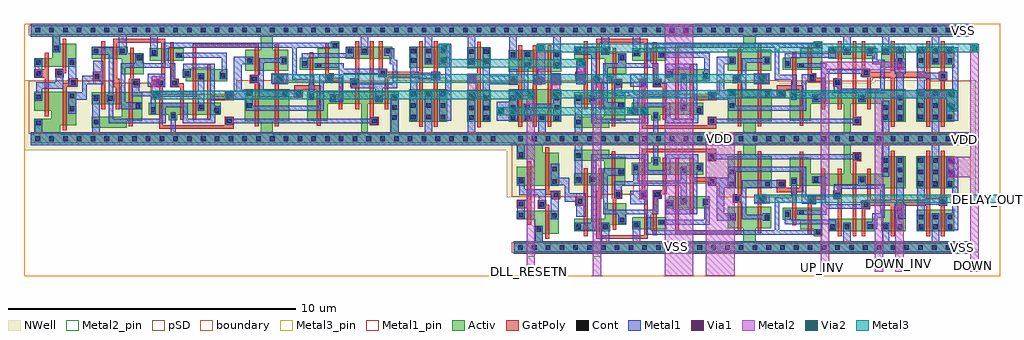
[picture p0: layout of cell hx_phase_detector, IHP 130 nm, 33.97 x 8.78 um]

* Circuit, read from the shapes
.subckt hx_phase_detector DELAY_IN DELAY_OUT DLL_RESETN DOWN DOWN_INV UP UP_INV VDD VSS
XM1 VSS n1 n1 VSS sg13_lv_nmos w=0.3u l=0.13u
XM2 n2 n3 VSS VSS sg13_lv_nmos w=0.795u l=0.13u
XM3 n4 n5 n6 VSS sg13_lv_nmos w=0.42u l=0.13u
XM4 VSS DLL_RESETN n4 VSS sg13_lv_nmos w=0.42u l=0.13u
XM5 n7 n8 VSS VSS sg13_lv_nmos w=0.74u l=0.13u
XM6 n9 DLL_RESETN VSS VSS sg13_lv_nmos w=0.42u l=0.13u
XM7 n10 n7 n9 VSS sg13_lv_nmos w=0.42u l=0.13u
XM8 n8 n11 n6 VSS sg13_lv_nmos w=0.42u l=0.13u
XM9 n10 n12 n8 VSS sg13_lv_nmos w=0.42u l=0.13u
XM10 VSS n11 n12 VSS sg13_lv_nmos w=0.74u l=0.13u
XM11 n11 DELAY_IN VSS VSS sg13_lv_nmos w=0.74u l=0.13u
XM12 n13 n11 n14 VSS sg13_lv_nmos w=0.42u l=0.13u
XM13 n7 n12 n13 VSS sg13_lv_nmos w=0.74u l=0.13u
XM14 VSS n15 n14 VSS sg13_lv_nmos w=0.42u l=0.13u
XM15 n16 DLL_RESETN VSS VSS sg13_lv_nmos w=0.42u l=0.13u
XM16 n15 n13 n16 VSS sg13_lv_nmos w=0.42u l=0.13u
XM17 VSS n13 n17 VSS sg13_lv_nmos w=0.74u l=0.13u
XM18 n18 n17 VSS VSS sg13_lv_nmos w=0.74u l=0.13u
XM19 n19 DLL_RESETN VSS VSS sg13_lv_nmos w=0.74u l=0.13u
XM20 n20 n19 VSS VSS sg13_lv_nmos w=0.74u l=0.13u
XM21 VSS n21 n21 VSS sg13_lv_nmos w=0.3u l=0.13u
XM22 n22 DOWN n20 VSS sg13_lv_nmos w=0.74u l=0.13u
XM23 n23 n24 VSS VSS sg13_lv_nmos w=0.795u l=0.13u
XM24 VSS UP n22 VSS sg13_lv_nmos w=0.74u l=0.13u
XM25 n25 n26 n27 VSS sg13_lv_nmos w=0.42u l=0.13u
XM26 n28 n18 n29 VSS sg13_lv_nmos w=0.42u l=0.13u
XM27 VSS n20 n25 VSS sg13_lv_nmos w=0.42u l=0.13u
XM28 VSS n20 n28 VSS sg13_lv_nmos w=0.42u l=0.13u
XM29 n30 n31 VSS VSS sg13_lv_nmos w=0.74u l=0.13u
XM30 n32 n33 VSS VSS sg13_lv_nmos w=0.74u l=0.13u
XM31 n34 n20 VSS VSS sg13_lv_nmos w=0.42u l=0.13u
XM32 n35 n20 VSS VSS sg13_lv_nmos w=0.42u l=0.13u
XM33 n36 n30 n34 VSS sg13_lv_nmos w=0.42u l=0.13u
XM34 n37 n32 n35 VSS sg13_lv_nmos w=0.42u l=0.13u
XM35 n31 n38 n27 VSS sg13_lv_nmos w=0.42u l=0.13u
XM36 n33 n39 n29 VSS sg13_lv_nmos w=0.42u l=0.13u
XM37 n36 n40 n31 VSS sg13_lv_nmos w=0.42u l=0.13u
XM38 n37 n41 n33 VSS sg13_lv_nmos w=0.42u l=0.13u
XM39 VSS n38 n40 VSS sg13_lv_nmos w=0.74u l=0.13u
XM40 VSS n39 n41 VSS sg13_lv_nmos w=0.74u l=0.13u
XM41 n38 DELAY_OUT VSS VSS sg13_lv_nmos w=0.74u l=0.13u
XM42 n39 DELAY_IN VSS VSS sg13_lv_nmos w=0.74u l=0.13u
XM43 n42 n38 n43 VSS sg13_lv_nmos w=0.42u l=0.13u
XM44 n44 n39 n45 VSS sg13_lv_nmos w=0.42u l=0.13u
XM45 n30 n40 n42 VSS sg13_lv_nmos w=0.74u l=0.13u
XM46 n32 n41 n44 VSS sg13_lv_nmos w=0.74u l=0.13u
XM47 VSS n46 n43 VSS sg13_lv_nmos w=0.42u l=0.13u
XM48 VSS n47 n45 VSS sg13_lv_nmos w=0.42u l=0.13u
XM49 n48 n20 VSS VSS sg13_lv_nmos w=0.42u l=0.13u
XM50 n49 n20 VSS VSS sg13_lv_nmos w=0.42u l=0.13u
XM51 n46 n42 n48 VSS sg13_lv_nmos w=0.42u l=0.13u
XM52 n47 n44 n49 VSS sg13_lv_nmos w=0.42u l=0.13u
XM53 DOWN_INV n42 VSS VSS sg13_lv_nmos w=0.74u l=0.13u
XM54 UP_INV n44 VSS VSS sg13_lv_nmos w=0.74u l=0.13u
XM55 VSS n42 n50 VSS sg13_lv_nmos w=0.74u l=0.13u
XM56 VSS n44 n51 VSS sg13_lv_nmos w=0.74u l=0.13u
XM57 DOWN n50 VSS VSS sg13_lv_nmos w=0.74u l=0.13u
XM58 UP n51 VSS VSS sg13_lv_nmos w=0.74u l=0.13u
XM59 VDD n1 n3 VDD sg13_lv_pmos w=0.66u l=0.13u
XM60 n5 n2 VDD VDD sg13_lv_pmos w=1.155u l=0.13u
XM61 n6 n5 VDD VDD sg13_lv_pmos w=0.42u l=0.13u
XM62 VDD DLL_RESETN n6 VDD sg13_lv_pmos w=0.42u l=0.13u
XM63 n7 n8 VDD VDD sg13_lv_pmos w=1u l=0.13u
XM64 VDD DLL_RESETN n8 VDD sg13_lv_pmos w=0.42u l=0.13u
XM65 n52 n7 VDD VDD sg13_lv_pmos w=0.42u l=0.13u
XM66 n8 n11 n52 VDD sg13_lv_pmos w=0.42u l=0.13u
XM67 n6 n12 n8 VDD sg13_lv_pmos w=0.42u l=0.13u
XM68 VDD n11 n12 VDD sg13_lv_pmos w=1.12u l=0.13u
XM69 n11 DELAY_IN VDD VDD sg13_lv_pmos w=1.12u l=0.13u
XM70 n13 n11 n7 VDD sg13_lv_pmos w=1u l=0.13u
XM71 n53 n12 n13 VDD sg13_lv_pmos w=0.42u l=0.13u
XM72 VDD n15 n53 VDD sg13_lv_pmos w=0.42u l=0.13u
XM73 n15 DLL_RESETN VDD VDD sg13_lv_pmos w=0.42u l=0.13u
XM74 VDD n13 n15 VDD sg13_lv_pmos w=0.42u l=0.13u
XM75 VDD n13 n17 VDD sg13_lv_pmos w=1.12u l=0.13u
XM76 n18 n17 VDD VDD sg13_lv_pmos w=1.12u l=0.13u
XM77 n19 DLL_RESETN VDD VDD sg13_lv_pmos w=1.12u l=0.13u
XM78 n54 n19 n20 VDD sg13_lv_pmos w=1.12u l=0.13u
XM79 VDD n21 n24 VDD sg13_lv_pmos w=0.66u l=0.13u
XM80 VDD DOWN n54 VDD sg13_lv_pmos w=1.12u l=0.13u
XM81 n26 n23 VDD VDD sg13_lv_pmos w=1.155u l=0.13u
XM82 n54 UP VDD VDD sg13_lv_pmos w=1.12u l=0.13u
XM83 n27 n26 VDD VDD sg13_lv_pmos w=0.42u l=0.13u
XM84 n29 n18 VDD VDD sg13_lv_pmos w=0.42u l=0.13u
XM85 VDD n20 n27 VDD sg13_lv_pmos w=0.42u l=0.13u
XM86 VDD n20 n29 VDD sg13_lv_pmos w=0.42u l=0.13u
XM87 n30 n31 VDD VDD sg13_lv_pmos w=1u l=0.13u
XM88 n32 n33 VDD VDD sg13_lv_pmos w=1u l=0.13u
XM89 VDD n20 n31 VDD sg13_lv_pmos w=0.42u l=0.13u
XM90 VDD n20 n33 VDD sg13_lv_pmos w=0.42u l=0.13u
XM91 n55 n30 VDD VDD sg13_lv_pmos w=0.42u l=0.13u
XM92 n56 n32 VDD VDD sg13_lv_pmos w=0.42u l=0.13u
XM93 n31 n38 n55 VDD sg13_lv_pmos w=0.42u l=0.13u
XM94 n33 n39 n56 VDD sg13_lv_pmos w=0.42u l=0.13u
XM95 n27 n40 n31 VDD sg13_lv_pmos w=0.42u l=0.13u
XM96 n29 n41 n33 VDD sg13_lv_pmos w=0.42u l=0.13u
XM97 VDD n38 n40 VDD sg13_lv_pmos w=1.12u l=0.13u
XM98 VDD n39 n41 VDD sg13_lv_pmos w=1.12u l=0.13u
XM99 n38 DELAY_OUT VDD VDD sg13_lv_pmos w=1.12u l=0.13u
XM100 n39 DELAY_IN VDD VDD sg13_lv_pmos w=1.12u l=0.13u
XM101 n42 n38 n30 VDD sg13_lv_pmos w=1u l=0.13u
XM102 n44 n39 n32 VDD sg13_lv_pmos w=1u l=0.13u
XM103 n57 n40 n42 VDD sg13_lv_pmos w=0.42u l=0.13u
XM104 n58 n41 n44 VDD sg13_lv_pmos w=0.42u l=0.13u
XM105 VDD n46 n57 VDD sg13_lv_pmos w=0.42u l=0.13u
XM106 VDD n47 n58 VDD sg13_lv_pmos w=0.42u l=0.13u
XM107 n46 n20 VDD VDD sg13_lv_pmos w=0.42u l=0.13u
XM108 n47 n20 VDD VDD sg13_lv_pmos w=0.42u l=0.13u
XM109 VDD n42 n46 VDD sg13_lv_pmos w=0.42u l=0.13u
XM110 VDD n44 n47 VDD sg13_lv_pmos w=0.42u l=0.13u
XM111 DOWN_INV n42 VDD VDD sg13_lv_pmos w=1.12u l=0.13u
XM112 UP_INV n44 VDD VDD sg13_lv_pmos w=1.12u l=0.13u
XM113 VDD n42 n50 VDD sg13_lv_pmos w=1.12u l=0.13u
XM114 VDD n44 n51 VDD sg13_lv_pmos w=1.12u l=0.13u
XM115 DOWN n50 VDD VDD sg13_lv_pmos w=1.12u l=0.13u
XM116 UP n51 VDD VDD sg13_lv_pmos w=1.12u l=0.13u
.ends

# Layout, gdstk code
import gdstk
lib = gdstk.Library(unit=1e-6, precision=1e-09)
def R(c, l, rs):  # rectangles x0, y0, x1, y1
    for r in rs: c.add(gdstk.rectangle(r[:2], r[2:], *l))
def A(c, l, x, y, w, h, nx, ny, dx, dy):  # array of equal rectangles
    R(c, l, [(x+i*dx, y+j*dy, x+i*dx+w, y+j*dy+h) for i in range(nx) for j in range(ny)])
def P(c, l, *ps):  # polygons
    for p in ps: c.add(gdstk.Polygon(p, *l))
Activ = (1, 0)
GatPoly = (5, 0)
Cont = (6, 0)
Metal1 = (8, 0)
Metal1_pin = (8, 2)
Metal2 = (10, 0)
Metal2_pin = (10, 2)
pSD = (14, 0)
Via1 = (19, 0)
Via2 = (29, 0)
Metal3 = (30, 0)
Metal3_pin = (30, 2)
NWell = (31, 0)
boundary = (189, 4)

hx_phase_detector = lib.new_cell('hx_phase_detector')
R(hx_phase_detector, Activ, [(27.99,1.57,29.62,1.99), (29.83,1.57,30.685,2.31), (31.065,1.57,32.385,2.31), (21.175,1.635,22.36,2.055), (31.06,3.06,32.385,4.18), (2.16,4.63,15.12,4.93), (15.12,4.63,16.56,4.93), (16.56,4.63,18.96,4.93), (18.96,4.63,32.88,4.93), (18.96,4.63,32.88,4.93), (15.43,5.365,16.24,6.485), (13.41,5.38,14.735,6.5), (16.865,5.38,18.695,6.5), (31.06,5.38,32.385,6.5), (16.865,7.12,18.695,7.86), (15.43,7.23,16.24,7.97), (13.415,7.25,14.735,7.99), (29.83,7.25,30.685,7.99), (31.065,7.25,32.385,7.99), (4.375,7.505,5.56,7.925), (21.175,7.505,22.36,7.925), (11.19,7.57,12.82,7.99), (27.99,7.57,29.62,7.99), (15.12,8.41,16.56,8.71), (16.56,8.41,18.96,8.71)])
P(hx_phase_detector, Activ, [(7.695,7.145),(7.695,7.885),(8.235,7.885),(8.235,8.41),(2.16,8.41),(2.16,8.71),(15.12,8.71),(15.12,8.41),(8.665,8.41),(8.665,7.885),(9.205,7.885),(9.205,7.145)],
  [(11.73,4.93),(11.73,5.995),(10.575,5.995),(10.575,5.415),(9.855,5.415),(9.855,6.415),(13.05,6.415),(13.05,4.93),(12.75,4.93),(12.75,5.995),(11.97,5.995),(11.97,4.93)],
  [(9.605,7.185),(9.605,7.605),(10.22,7.605),(10.22,7.925),(10.68,7.925),(10.68,8.17),(10.98,8.17),(10.98,7.185)],
  [(8.235,4.93),(8.235,5.39),(7.69,5.39),(7.69,6.51),(9.23,6.51),(9.23,5.39),(8.665,5.39),(8.665,4.93)],
  [(5.635,6.78),(5.635,6.9),(5.525,6.9),(5.525,7.2),(7.07,7.2),(7.07,6.78)],
  [(5.04,5.42),(5.04,5.615),(4.35,5.615),(4.35,6.035),(6.845,6.035),(6.845,5.615),(5.34,5.615),(5.34,5.42)],
  [(3.405,7.025),(3.405,7.57),(2.35,7.57),(2.35,7.99),(3.605,7.99),(3.605,7.765),(4.16,7.765),(4.16,7.025)],
  [(2.35,5.165),(2.35,5.55),(3.4,5.55),(3.4,5.98),(2.35,5.98),(2.35,6.4),(4.12,6.4),(4.12,5.4),(3.575,5.4),(3.575,5.165)],
  [(18.96,0.85),(18.96,1.15),(25.035,1.15),(25.035,1.675),(24.495,1.675),(24.495,2.415),(26.005,2.415),(26.005,1.675),(25.465,1.675),(25.465,1.15),(32.88,1.15),(32.88,0.85)],
  [(29.83,3.06),(29.83,3.145),(26.655,3.145),(26.655,4.145),(27.375,4.145),(27.375,3.565),(28.53,3.565),(28.53,4.63),(28.77,4.63),(28.77,3.565),(29.83,3.565),(29.83,4.18),(30.685,4.18),(30.685,3.06)],
  [(27.48,1.39),(27.48,1.635),(27.02,1.635),(27.02,1.955),(26.405,1.955),(26.405,2.375),(27.78,2.375),(27.78,1.39)],
  [(24.49,3.05),(24.49,4.17),(25.035,4.17),(25.035,4.63),(25.465,4.63),(25.465,4.17),(26.03,4.17),(26.03,3.05)],
  [(22.325,2.36),(22.325,2.66),(22.435,2.66),(22.435,2.78),(23.87,2.78),(23.87,2.36)],
  [(21.15,3.525),(21.15,3.945),(21.84,3.945),(21.84,4.14),(22.14,4.14),(22.14,3.945),(23.645,3.945),(23.645,3.525)],
  [(19.15,1.57),(19.15,1.99),(20.205,1.99),(20.205,2.535),(20.96,2.535),(20.96,1.795),(20.405,1.795),(20.405,1.57)],
  [(19.15,3.16),(19.15,3.58),(20.2,3.58),(20.2,4.01),(19.15,4.01),(19.15,4.395),(20.375,4.395),(20.375,4.16),(20.92,4.16),(20.92,3.16)],
  [(24.495,7.145),(24.495,7.885),(25.035,7.885),(25.035,8.41),(18.96,8.41),(18.96,8.71),(32.88,8.71),(32.88,8.41),(25.465,8.41),(25.465,7.885),(26.005,7.885),(26.005,7.145)],
  [(28.53,4.93),(28.53,5.995),(27.375,5.995),(27.375,5.415),(26.655,5.415),(26.655,6.415),(29.83,6.415),(29.83,6.5),(30.685,6.5),(30.685,5.38),(29.83,5.38),(29.83,5.995),(28.77,5.995),(28.77,4.93)],
  [(26.405,7.185),(26.405,7.605),(27.02,7.605),(27.02,7.925),(27.48,7.925),(27.48,8.17),(27.78,8.17),(27.78,7.185)],
  [(25.035,4.93),(25.035,5.39),(24.49,5.39),(24.49,6.51),(26.03,6.51),(26.03,5.39),(25.465,5.39),(25.465,4.93)],
  [(22.435,6.78),(22.435,6.9),(22.325,6.9),(22.325,7.2),(23.87,7.2),(23.87,6.78)],
  [(21.84,5.42),(21.84,5.615),(21.15,5.615),(21.15,6.035),(23.645,6.035),(23.645,5.615),(22.14,5.615),(22.14,5.42)],
  [(20.205,7.025),(20.205,7.57),(19.15,7.57),(19.15,7.99),(20.405,7.99),(20.405,7.765),(20.96,7.765),(20.96,7.025)],
  [(19.15,5.165),(19.15,5.55),(20.2,5.55),(20.2,5.98),(19.15,5.98),(19.15,6.4),(20.92,6.4),(20.92,5.4),(20.375,5.4),(20.375,5.165)],
  [(17.155,3.145),(17.155,3.805),(17.745,3.805),(17.745,4.075),(17.155,4.075),(17.155,4.63),(17.04,4.63),(17.04,4.93),(18.96,4.93),(18.96,4.63),(18.06,4.63),(18.06,4.3),(18.62,4.3),(18.62,3.145)],
  [(17.04,0.85),(17.04,1.15),(17.78,1.15),(17.78,1.975),(17.155,1.975),(17.155,2.275),(18.62,2.275),(18.62,1.48),(18.05,1.48),(18.05,1.15),(18.96,1.15),(18.96,0.85)],
  [(0.24,4.63),(0.24,4.93),(0.355,4.93),(0.355,5.485),(0.945,5.485),(0.945,5.755),(0.355,5.755),(0.355,6.415),(1.82,6.415),(1.82,5.26),(1.26,5.26),(1.26,4.93),(2.16,4.93),(2.16,4.63)],
  [(0.355,7.285),(0.355,7.585),(0.98,7.585),(0.98,8.41),(0.24,8.41),(0.24,8.71),(2.16,8.71),(2.16,8.41),(1.25,8.41),(1.25,8.08),(1.82,8.08),(1.82,7.285)])
R(hx_phase_detector, GatPoly, [(31.915,1.39,32.045,4.36), (31.83,2.445,32.13,2.745), (14.265,5.2,14.395,8.17), (31.915,5.2,32.045,8.17), (14.18,6.815,14.48,7.115), (31.83,6.815,32.13,7.115)])
P(hx_phase_detector, GatPoly, [(18.225,5.2),(18.225,8.04),(18.355,8.04),(18.355,6.96),(18.695,6.96),(18.695,6.66),(18.355,6.66),(18.355,5.2)],
  [(17.715,5.2),(17.715,8.04),(17.845,8.04),(17.845,6.96),(18.015,6.96),(18.015,6.66),(17.845,6.66),(17.845,5.2)],
  [(17.205,5.2),(17.205,6.66),(16.865,6.66),(16.865,6.96),(17.205,6.96),(17.205,8.04),(17.335,8.04),(17.335,5.2)],
  [(12.04,5.255),(12.04,8.17),(12.17,8.17),(12.17,5.555),(12.34,5.555),(12.34,5.255)],
  [(13.755,5.2),(13.755,6.925),(12.68,6.925),(12.68,5.815),(12.55,5.815),(12.55,6.925),(12.35,6.925),(12.35,8.17),(12.48,8.17),(12.48,7.225),(12.65,7.225),(12.65,7.11),(13.755,7.11),(13.755,8.17),(13.885,8.17),(13.885,5.2)],
  [(8.035,5.21),(8.035,6.705),(7.865,6.705),(7.865,7.005),(8.035,7.005),(8.035,7.955),(5.995,7.955),(5.995,5.435),(5.865,5.435),(5.865,8.095),(8.165,8.095),(8.165,5.21)],
  [(2.69,5.8),(2.69,6.805),(2.395,6.805),(2.395,7.105),(2.69,7.105),(2.69,8.17),(2.82,8.17),(2.82,5.8)],
  [(11.53,5.815),(11.53,6.59),(11.36,6.59),(11.36,6.89),(11.53,6.89),(11.53,8.17),(11.66,8.17),(11.66,5.815)],
  [(10.195,5.235),(10.195,6.49),(9.705,6.49),(9.705,6.21),(9.405,6.21),(9.405,6.64),(9.945,6.64),(9.945,7.795),(10.075,7.795),(10.075,6.64),(10.325,6.64),(10.325,5.235)],
  [(8.735,5.21),(8.735,8.065),(8.865,8.065),(8.865,7.005),(9.035,7.005),(9.035,6.705),(8.865,6.705),(8.865,5.21)],
  [(6.375,5.435),(6.375,7.38),(6.505,7.38),(6.505,6.27),(6.995,6.27),(6.995,6.42),(7.295,6.42),(7.295,6.12),(6.505,6.12),(6.505,5.435)],
  [(5.435,5.435),(5.435,6.575),(5.09,6.575),(5.09,8.135),(5.22,8.135),(5.22,6.875),(5.39,6.875),(5.39,6.705),(5.565,6.705),(5.565,5.435)],
  [(4.7,5.125),(4.7,6.575),(4.61,6.575),(4.61,6.875),(4.78,6.875),(4.78,8.13),(3.24,8.13),(3.24,6.875),(3.33,6.875),(3.33,5.8),(3.2,5.8),(3.2,6.58),(3.11,6.58),(3.11,8.265),(4.91,8.265),(4.91,6.575),(4.83,6.575),(4.83,5.255),(6.995,5.255),(6.995,5.555),(7.295,5.555),(7.295,5.125)],
  [(3.65,5.22),(3.65,6.875),(3.69,6.875),(3.69,7.945),(3.82,7.945),(3.82,6.875),(4.025,6.875),(4.025,6.575),(3.78,6.575),(3.78,5.22)],
  [(10.955,5.815),(10.955,6.755),(10.48,6.755),(10.48,8.115),(10.61,8.115),(10.61,7.055),(10.78,7.055),(10.78,6.9),(11.085,6.9),(11.085,5.815)],
  [(28.84,1.39),(28.84,4.305),(29.14,4.305),(29.14,4.005),(28.97,4.005),(28.97,1.39)],
  [(22.665,1.465),(22.665,4.125),(22.795,4.125),(22.795,1.605),(24.835,1.605),(24.835,2.555),(24.665,2.555),(24.665,2.855),(24.835,2.855),(24.835,4.35),(24.965,4.35),(24.965,1.465)],
  [(19.49,1.39),(19.49,2.455),(19.195,2.455),(19.195,2.755),(19.49,2.755),(19.49,3.76),(19.62,3.76),(19.62,1.39)],
  [(29.15,1.39),(29.15,2.635),(29.35,2.635),(29.35,3.745),(29.48,3.745),(29.48,2.635),(30.17,2.635),(30.17,4.36),(30.3,4.36),(30.3,2.635),(31.405,2.635),(31.405,4.36),(31.535,4.36),(31.535,1.39),(31.405,1.39),(31.405,2.45),(30.3,2.45),(30.3,1.39),(30.17,1.39),(30.17,2.45),(29.45,2.45),(29.45,2.335),(29.28,2.335),(29.28,1.39)],
  [(28.33,1.39),(28.33,2.67),(28.16,2.67),(28.16,2.97),(28.33,2.97),(28.33,3.745),(28.46,3.745),(28.46,1.39)],
  [(26.745,1.765),(26.745,2.92),(26.205,2.92),(26.205,3.35),(26.505,3.35),(26.505,3.07),(26.995,3.07),(26.995,4.325),(27.125,4.325),(27.125,2.92),(26.875,2.92),(26.875,1.765)],
  [(25.535,1.495),(25.535,4.35),(25.665,4.35),(25.665,2.855),(25.835,2.855),(25.835,2.555),(25.665,2.555),(25.665,1.495)],
  [(23.175,2.18),(23.175,4.125),(23.305,4.125),(23.305,3.44),(24.095,3.44),(24.095,3.14),(23.795,3.14),(23.795,3.29),(23.305,3.29),(23.305,2.18)],
  [(21.89,1.425),(21.89,2.985),(22.235,2.985),(22.235,4.125),(22.365,4.125),(22.365,2.855),(22.19,2.855),(22.19,2.685),(22.02,2.685),(22.02,1.425)],
  [(19.91,1.295),(19.91,2.98),(20,2.98),(20,3.76),(20.13,3.76),(20.13,2.685),(20.04,2.685),(20.04,1.43),(21.58,1.43),(21.58,2.685),(21.41,2.685),(21.41,2.985),(21.5,2.985),(21.5,4.435),(24.095,4.435),(24.095,4.005),(23.795,4.005),(23.795,4.305),(21.63,4.305),(21.63,2.985),(21.71,2.985),(21.71,1.295)],
  [(20.49,1.615),(20.49,2.685),(20.45,2.685),(20.45,4.34),(20.58,4.34),(20.58,2.985),(20.825,2.985),(20.825,2.685),(20.62,2.685),(20.62,1.615)],
  [(27.28,1.445),(27.28,2.805),(27.755,2.805),(27.755,3.745),(27.885,3.745),(27.885,2.66),(27.58,2.66),(27.58,2.505),(27.41,2.505),(27.41,1.445)],
  [(28.84,5.255),(28.84,8.17),(28.97,8.17),(28.97,5.555),(29.14,5.555),(29.14,5.255)],
  [(24.835,5.21),(24.835,6.705),(24.665,6.705),(24.665,7.005),(24.835,7.005),(24.835,7.955),(22.795,7.955),(22.795,5.435),(22.665,5.435),(22.665,8.095),(24.965,8.095),(24.965,5.21)],
  [(19.49,5.8),(19.49,6.805),(19.195,6.805),(19.195,7.105),(19.49,7.105),(19.49,8.17),(19.62,8.17),(19.62,5.8)],
  [(30.17,5.2),(30.17,6.925),(29.48,6.925),(29.48,5.815),(29.35,5.815),(29.35,6.925),(29.15,6.925),(29.15,8.17),(29.28,8.17),(29.28,7.225),(29.45,7.225),(29.45,7.11),(30.17,7.11),(30.17,8.17),(30.3,8.17),(30.3,7.11),(31.405,7.11),(31.405,8.17),(31.535,8.17),(31.535,5.2),(31.405,5.2),(31.405,6.925),(30.3,6.925),(30.3,5.2)],
  [(28.33,5.815),(28.33,6.59),(28.16,6.59),(28.16,6.89),(28.33,6.89),(28.33,8.17),(28.46,8.17),(28.46,5.815)],
  [(26.995,5.235),(26.995,6.49),(26.505,6.49),(26.505,6.21),(26.205,6.21),(26.205,6.64),(26.745,6.64),(26.745,7.795),(26.875,7.795),(26.875,6.64),(27.125,6.64),(27.125,5.235)],
  [(25.535,5.21),(25.535,8.065),(25.665,8.065),(25.665,7.005),(25.835,7.005),(25.835,6.705),(25.665,6.705),(25.665,5.21)],
  [(23.175,5.435),(23.175,7.38),(23.305,7.38),(23.305,6.27),(23.795,6.27),(23.795,6.42),(24.095,6.42),(24.095,6.12),(23.305,6.12),(23.305,5.435)],
  [(22.235,5.435),(22.235,6.575),(21.89,6.575),(21.89,8.135),(22.02,8.135),(22.02,6.875),(22.19,6.875),(22.19,6.705),(22.365,6.705),(22.365,5.435)],
  [(21.5,5.125),(21.5,6.575),(21.41,6.575),(21.41,6.875),(21.58,6.875),(21.58,8.13),(20.04,8.13),(20.04,6.875),(20.13,6.875),(20.13,5.8),(20,5.8),(20,6.58),(19.91,6.58),(19.91,8.265),(21.71,8.265),(21.71,6.575),(21.63,6.575),(21.63,5.255),(23.795,5.255),(23.795,5.555),(24.095,5.555),(24.095,5.125)],
  [(20.45,5.22),(20.45,6.875),(20.49,6.875),(20.49,7.945),(20.62,7.945),(20.62,6.875),(20.825,6.875),(20.825,6.575),(20.58,6.575),(20.58,5.22)],
  [(27.755,5.815),(27.755,6.755),(27.28,6.755),(27.28,8.115),(27.41,8.115),(27.41,7.055),(27.58,7.055),(27.58,6.9),(27.885,6.9),(27.885,5.815)],
  [(18.37,2.675),(18.37,2.83),(18.15,2.83),(18.15,4.49),(18.28,4.49),(18.28,2.975),(18.67,2.975),(18.67,2.675)],
  [(17.525,1.785),(17.525,2.355),(17.155,2.355),(17.155,2.655),(17.525,2.655),(17.525,3.995),(17.655,3.995),(17.655,1.785)],
  [(18.145,1.3),(18.145,2.345),(17.885,2.345),(17.885,2.645),(18.185,2.645),(18.185,2.49),(18.275,2.49),(18.275,1.3)],
  [(1.35,5.07),(1.35,6.73),(1.57,6.73),(1.57,6.885),(1.87,6.885),(1.87,6.585),(1.48,6.585),(1.48,5.07)],
  [(0.725,5.565),(0.725,6.905),(0.355,6.905),(0.355,7.205),(0.725,7.205),(0.725,7.775),(0.855,7.775),(0.855,5.565)],
  [(1.085,6.915),(1.085,7.215),(1.345,7.215),(1.345,8.26),(1.475,8.26),(1.475,7.07),(1.385,7.07),(1.385,6.915)],
  [(15.77,5.185),(15.77,6.71),(15.43,6.71),(15.43,7.04),(15.77,7.04),(15.77,8.15),(15.9,8.15),(15.9,5.185)])
A(hx_phase_detector, Cont, 18.64, 0.92, 0.16, 0.16, 30, 1, 0.48, 0)
A(hx_phase_detector, Cont, 29.39, 1.64, 0.16, 0.16, 3, 2, 0.51, 6.12)
A(hx_phase_detector, Cont, 31.135, 1.64, 0.16, 0.16, 3, 2, 0.51, 0.34)
A(hx_phase_detector, Cont, 31.13, 3.135, 0.16, 0.16, 1, 3, 0, 0.405)
A(hx_phase_detector, Cont, 31.645, 3.135, 0.16, 0.16, 1, 3, 0, 0.405)
A(hx_phase_detector, Cont, 32.155, 3.135, 0.16, 0.16, 1, 3, 0, 0.405)
A(hx_phase_detector, Cont, 30.41, 3.27, 0.16, 0.16, 1, 3, 0, 0.34)
A(hx_phase_detector, Cont, 1.84, 4.7, 0.16, 0.16, 29, 2, 0.48, 3.78)
A(hx_phase_detector, Cont, 15.5, 5.435, 0.16, 0.16, 1, 3, 0, 0.34)
A(hx_phase_detector, Cont, 16.01, 5.435, 0.16, 0.16, 1, 3, 0, 0.34)
A(hx_phase_detector, Cont, 12.82, 5.445, 0.16, 0.16, 1, 3, 0, 0.34)
A(hx_phase_detector, Cont, 16.935, 5.45, 0.16, 0.16, 4, 1, 0.51, 0)
A(hx_phase_detector, Cont, 30.41, 5.45, 0.16, 0.16, 1, 3, 0, 0.34)
A(hx_phase_detector, Cont, 13.48, 5.455, 0.16, 0.16, 1, 3, 0, 0.405)
A(hx_phase_detector, Cont, 13.995, 5.455, 0.16, 0.16, 1, 3, 0, 0.405)
A(hx_phase_detector, Cont, 14.505, 5.455, 0.16, 0.16, 1, 3, 0, 0.405)
A(hx_phase_detector, Cont, 31.13, 5.455, 0.16, 0.16, 1, 3, 0, 0.405)
A(hx_phase_detector, Cont, 31.645, 5.455, 0.16, 0.16, 1, 3, 0, 0.405)
A(hx_phase_detector, Cont, 32.155, 5.455, 0.16, 0.16, 1, 3, 0, 0.405)
A(hx_phase_detector, Cont, 13.485, 7.42, 0.16, 0.16, 3, 2, 0.51, 0.34)
A(hx_phase_detector, Cont, 31.135, 7.42, 0.16, 0.16, 3, 2, 0.51, 0.34)
A(hx_phase_detector, Cont, 16.24, 8.48, 0.16, 0.16, 35, 1, 0.48, 0)
R(hx_phase_detector, Cont, [(17.2,0.92,17.36,1.08), (17.2,0.92,17.36,1.08), (17.68,0.92,17.84,1.08), (17.68,0.92,17.84,1.08), (18.16,0.92,18.32,1.08), (18.16,0.92,18.32,1.08), (18.64,0.92,18.8,1.08), (27.55,1.465,27.71,1.625), (17.85,1.55,18.01,1.71), (19.22,1.64,19.38,1.8), (20.15,1.64,20.31,1.8), (28.06,1.64,28.22,1.8), (28.57,1.64,28.73,1.8), (21.245,1.705,21.405,1.865), (22.13,1.795,22.29,1.955), (20.73,1.88,20.89,2.04), (24.565,1.97,24.725,2.13), (25.775,1.97,25.935,2.13), (30.41,1.98,30.57,2.14), (18.39,2.035,18.55,2.195), (17.225,2.045,17.385,2.205), (26.475,2.075,26.635,2.235), (26.985,2.145,27.145,2.305), (29.22,2.405,29.38,2.565), (17.955,2.415,18.115,2.575), (17.225,2.425,17.385,2.585), (22.395,2.43,22.555,2.59), (23.64,2.49,23.8,2.65), (31.9,2.515,32.06,2.675), (19.265,2.525,19.425,2.685), (22.905,2.55,23.065,2.71), (27.35,2.575,27.51,2.735), (24.735,2.625,24.895,2.785), (25.605,2.625,25.765,2.785), (28.23,2.74,28.39,2.9), (18.44,2.745,18.6,2.905), (20.595,2.755,20.755,2.915), (21.48,2.755,21.64,2.915), (21.96,2.755,22.12,2.915), (24.56,3.12,24.72,3.28), (25.8,3.12,25.96,3.28), (26.275,3.12,26.435,3.28), (23.865,3.21,24.025,3.37), (18.39,3.215,18.55,3.375), (26.725,3.215,26.885,3.375), (17.225,3.24,17.385,3.4), (27.485,3.275,27.645,3.435), (29.08,3.275,29.24,3.435), (19.22,3.29,19.38,3.45), (19.73,3.29,19.89,3.45), (24.56,3.54,24.72,3.7), (20.69,3.55,20.85,3.71), (22.905,3.595,23.065,3.755), (29.9,3.61,30.06,3.77), (18.39,3.655,18.55,3.815), (21.22,3.69,21.38,3.85), (23.415,3.705,23.575,3.865), (21.91,3.91,22.07,4.07), (29.9,3.95,30.06,4.11), (23.865,4.075,24.025,4.235), (28.91,4.075,29.07,4.235), (19.225,4.12,19.385,4.28), (17.225,4.145,17.385,4.305), (0.4,4.7,0.56,4.86), (0.4,4.7,0.56,4.86), (0.88,4.7,1.04,4.86), (0.88,4.7,1.04,4.86), (1.36,4.7,1.52,4.86), (1.36,4.7,1.52,4.86), (1.84,4.7,2,4.86), (15.28,4.7,15.44,4.86), (15.76,4.7,15.92,4.86), (15.76,4.7,15.92,4.86), (16.24,4.7,16.4,4.86), (16.24,4.7,16.4,4.86), (17.2,4.7,17.36,4.86), (17.2,4.7,17.36,4.86), (17.68,4.7,17.84,4.86), (17.68,4.7,17.84,4.86), (18.16,4.7,18.32,4.86), (18.16,4.7,18.32,4.86), (18.64,4.7,18.8,4.86), (18.64,4.7,18.8,4.86), (18.64,4.7,18.8,4.86), (19.12,4.7,19.28,4.86), (19.12,4.7,19.28,4.86), (19.6,4.7,19.76,4.86), (19.6,4.7,19.76,4.86), (20.08,4.7,20.24,4.86), (20.08,4.7,20.24,4.86), (20.56,4.7,20.72,4.86), (20.56,4.7,20.72,4.86), (21.04,4.7,21.2,4.86), (21.04,4.7,21.2,4.86), (21.52,4.7,21.68,4.86), (21.52,4.7,21.68,4.86), (22,4.7,22.16,4.86), (22,4.7,22.16,4.86), (22.48,4.7,22.64,4.86), (22.48,4.7,22.64,4.86), (22.96,4.7,23.12,4.86), (22.96,4.7,23.12,4.86), (23.44,4.7,23.6,4.86), (23.44,4.7,23.6,4.86), (23.92,4.7,24.08,4.86), (23.92,4.7,24.08,4.86), (24.4,4.7,24.56,4.86), (24.4,4.7,24.56,4.86), (24.88,4.7,25.04,4.86), (24.88,4.7,25.04,4.86), (25.36,4.7,25.52,4.86), (25.36,4.7,25.52,4.86), (25.84,4.7,26,4.86), (25.84,4.7,26,4.86), (26.32,4.7,26.48,4.86), (26.32,4.7,26.48,4.86), (26.8,4.7,26.96,4.86), (26.8,4.7,26.96,4.86), (27.28,4.7,27.44,4.86), (27.28,4.7,27.44,4.86), (27.76,4.7,27.92,4.86), (27.76,4.7,27.92,4.86), (28.24,4.7,28.4,4.86), (28.24,4.7,28.4,4.86), (28.72,4.7,28.88,4.86), (28.72,4.7,28.88,4.86), (29.2,4.7,29.36,4.86), (29.2,4.7,29.36,4.86), (29.68,4.7,29.84,4.86), (29.68,4.7,29.84,4.86), (30.16,4.7,30.32,4.86), (30.16,4.7,30.32,4.86), (30.64,4.7,30.8,4.86), (30.64,4.7,30.8,4.86), (31.12,4.7,31.28,4.86), (31.12,4.7,31.28,4.86), (31.6,4.7,31.76,4.86), (31.6,4.7,31.76,4.86), (32.08,4.7,32.24,4.86), (32.08,4.7,32.24,4.86), (32.56,4.7,32.72,4.86), (32.56,4.7,32.72,4.86), (0.425,5.255,0.585,5.415), (2.425,5.28,2.585,5.44), (19.225,5.28,19.385,5.44), (7.065,5.325,7.225,5.485), (12.11,5.325,12.27,5.485), (23.865,5.325,24.025,5.485), (28.91,5.325,29.07,5.485), (29.9,5.45,30.06,5.61), (5.11,5.49,5.27,5.65), (21.91,5.49,22.07,5.65), (6.615,5.695,6.775,5.855), (23.415,5.695,23.575,5.855), (4.42,5.71,4.58,5.87), (21.22,5.71,21.38,5.87), (1.59,5.745,1.75,5.905), (16.935,5.79,17.095,5.95), (17.445,5.79,17.605,5.95), (18.465,5.79,18.625,5.95), (29.9,5.79,30.06,5.95), (6.105,5.805,6.265,5.965), (22.905,5.805,23.065,5.965), (3.89,5.85,4.05,6.01), (20.69,5.85,20.85,6.01), (7.76,5.86,7.92,6.02), (24.56,5.86,24.72,6.02), (2.42,6.11,2.58,6.27), (2.93,6.11,3.09,6.27), (19.22,6.11,19.38,6.27), (19.73,6.11,19.89,6.27), (10.685,6.125,10.845,6.285), (12.28,6.125,12.44,6.285), (27.485,6.125,27.645,6.285), (29.08,6.125,29.24,6.285), (16.935,6.13,17.095,6.29), (18.465,6.13,18.625,6.29), (0.425,6.16,0.585,6.32), (1.59,6.185,1.75,6.345), (9.925,6.185,10.085,6.345), (26.725,6.185,26.885,6.345), (7.065,6.19,7.225,6.35), (23.865,6.19,24.025,6.35), (7.76,6.28,7.92,6.44), (9,6.28,9.16,6.44), (9.475,6.28,9.635,6.44), (24.56,6.28,24.72,6.44), (25.8,6.28,25.96,6.44), (26.275,6.28,26.435,6.44), (3.795,6.645,3.955,6.805), (4.68,6.645,4.84,6.805), (5.16,6.645,5.32,6.805), (20.595,6.645,20.755,6.805), (21.48,6.645,21.64,6.805), (21.96,6.645,22.12,6.805), (1.64,6.655,1.8,6.815), (11.43,6.66,11.59,6.82), (28.23,6.66,28.39,6.82), (16.935,6.73,17.095,6.89), (17.785,6.73,17.945,6.89), (18.465,6.73,18.625,6.89), (7.935,6.775,8.095,6.935), (8.805,6.775,8.965,6.935), (24.735,6.775,24.895,6.935), (25.605,6.775,25.765,6.935), (15.515,6.795,15.675,6.955), (10.55,6.825,10.71,6.985), (27.35,6.825,27.51,6.985), (6.105,6.85,6.265,7.01), (22.905,6.85,23.065,7.01), (2.465,6.875,2.625,7.035), (19.265,6.875,19.425,7.035), (14.25,6.885,14.41,7.045), (31.9,6.885,32.06,7.045), (6.84,6.91,7,7.07), (23.64,6.91,23.8,7.07), (5.595,6.97,5.755,7.13), (22.395,6.97,22.555,7.13), (0.425,6.975,0.585,7.135), (1.155,6.985,1.315,7.145), (12.42,6.995,12.58,7.155), (29.22,6.995,29.38,7.155), (10.185,7.255,10.345,7.415), (26.985,7.255,27.145,7.415), (17.445,7.29,17.605,7.45), (18.465,7.29,18.625,7.45), (9.675,7.325,9.835,7.485), (26.475,7.325,26.635,7.485), (0.425,7.355,0.585,7.515), (1.59,7.365,1.75,7.525), (15.5,7.4,15.66,7.56), (16.01,7.4,16.17,7.56), (30.41,7.42,30.57,7.58), (7.765,7.43,7.925,7.59), (8.975,7.43,9.135,7.59), (24.565,7.43,24.725,7.59), (25.775,7.43,25.935,7.59), (3.93,7.52,4.09,7.68), (20.73,7.52,20.89,7.68), (5.33,7.605,5.49,7.765), (22.13,7.605,22.29,7.765), (16.935,7.63,17.095,7.79), (17.445,7.63,17.605,7.79), (18.465,7.63,18.625,7.79), (4.445,7.695,4.605,7.855), (21.245,7.695,21.405,7.855), (15.5,7.74,15.66,7.9), (16.01,7.74,16.17,7.9), (2.42,7.76,2.58,7.92), (3.35,7.76,3.51,7.92), (11.26,7.76,11.42,7.92), (11.77,7.76,11.93,7.92), (12.59,7.76,12.75,7.92), (19.22,7.76,19.38,7.92), (20.15,7.76,20.31,7.92), (28.06,7.76,28.22,7.92), (28.57,7.76,28.73,7.92), (1.05,7.85,1.21,8.01), (10.75,7.935,10.91,8.095), (27.55,7.935,27.71,8.095), (0.4,8.48,0.56,8.64), (0.4,8.48,0.56,8.64), (0.88,8.48,1.04,8.64), (0.88,8.48,1.04,8.64), (1.36,8.48,1.52,8.64), (1.36,8.48,1.52,8.64), (1.84,8.48,2,8.64), (15.28,8.48,15.44,8.64), (15.76,8.48,15.92,8.64), (15.76,8.48,15.92,8.64), (16.24,8.48,16.4,8.64)])
R(hx_phase_detector, Metal1, [(18.34,1.985,18.615,2.955), (17.175,1.995,17.435,2.635), (19.215,2.07,19.56,2.89), (21.105,2.51,21.71,2.965), (25.41,2.52,25.95,2.84), (18.34,3.165,18.625,3.91), (15.975,5.385,16.205,7.95), (16.455,5.4,16.885,6.07), (1.54,5.65,1.825,6.395), (4.305,6.595,4.91,7.05), (21.105,6.595,21.71,7.05), (1.54,6.605,1.815,7.575), (2.415,6.67,2.76,7.49), (19.215,6.67,19.56,7.49), (16.205,6.68,16.885,6.97), (16.885,6.68,17.16,7.215), (18.33,6.68,18.675,7.06), (15.43,6.71,15.745,7.04), (8.61,6.72,9.15,7.04), (25.41,6.72,25.95,7.04), (0.375,6.925,0.635,7.565), (17.735,6.94,17.88,7), (14.435,7.97,14.87,8.09)])
P(hx_phase_detector, Metal1, [(17.395,5.4),(17.395,6.005),(18.415,6.005),(18.415,6.48),(18.675,6.48),(18.675,5.4),(18.415,5.4),(18.415,5.845),(17.655,5.845),(17.655,5.4)],
  [(17.735,6.68),(17.735,6.94),(17.88,6.94),(17.88,7.215),(18.14,7.215),(18.14,6.68)],
  [(16.56,4.56),(16.56,5),(17.905,5),(17.905,5.66),(18.165,5.66),(18.165,5),(18.96,5),(18.96,4.56)],
  [(18.415,7.24),(18.415,8.34),(17.145,8.34),(17.145,7.58),(16.885,7.58),(16.885,8.34),(16.56,8.34),(16.56,8.78),(18.96,8.78),(18.96,8.34),(18.675,8.34),(18.675,7.24)],
  [(16.885,5.4),(16.885,6.48),(17.395,6.48),(17.395,7.84),(17.655,7.84),(17.655,7.24),(17.555,7.24),(17.555,6.27),(17.18,6.27),(17.18,5.4)],
  [(12.23,6.065),(12.23,6.54),(11.38,6.54),(11.38,6.87),(11.64,6.87),(11.64,6.7),(12.835,6.7),(12.835,7.37),(12.73,7.37),(12.73,7.675),(12.54,7.675),(12.54,7.935),(12.89,7.935),(12.89,7.53),(12.995,7.53),(12.995,6.54),(12.49,6.54),(12.49,6.065)],
  [(13.435,5.405),(13.435,7.97),(13.695,7.97),(13.695,7.075),(14.18,7.075),(14.18,7.115),(14.48,7.115),(14.48,6.815),(14.18,6.815),(14.18,6.85),(13.695,6.85),(13.695,5.405)],
  [(14.455,5.405),(14.455,6.465),(14.66,6.465),(14.66,7.37),(14.435,7.37),(14.435,7.97),(14.87,7.97),(14.87,5.405)],
  [(7.015,5.275),(7.015,5.535),(7.275,5.535),(7.275,5.485),(12.07,5.485),(12.07,5.535),(12.32,5.535),(12.32,5.275),(12.07,5.275),(12.07,5.325),(7.275,5.325),(7.275,5.275)],
  [(8.18,6.23),(8.18,6.725),(7.885,6.725),(7.885,6.985),(8.18,6.985),(8.18,7.58),(8.915,7.58),(8.915,7.64),(9.15,7.64),(9.15,7.38),(8.915,7.38),(8.915,7.42),(8.34,7.42),(8.34,6.49),(9.685,6.49),(9.685,6.23)],
  [(2.945,5.32),(2.945,6.06),(2.88,6.06),(2.88,6.32),(2.945,6.32),(2.945,7.71),(2.37,7.71),(2.37,7.97),(3.11,7.97),(3.11,6.32),(3.14,6.32),(3.14,6.06),(3.11,6.06),(3.11,5.48),(4.765,5.48),(4.765,6.04),(5.695,6.04),(5.695,5.48),(6.48,5.48),(6.48,7.24),(5.805,7.24),(5.805,6.92),(5.545,6.92),(5.545,7.4),(6.64,7.4),(6.64,5.905),(6.825,5.905),(6.825,5.645),(6.665,5.645),(6.665,5.32),(5.525,5.32),(5.525,5.88),(4.925,5.88),(4.925,5.32)],
  [(13.945,7.37),(13.945,8.34),(11.98,8.34),(11.98,7.71),(11.72,7.71),(11.72,8.34),(4.655,8.34),(4.655,7.645),(4.395,7.645),(4.395,8.34),(3.57,8.34),(3.57,7.71),(3.3,7.71),(3.3,8.34),(2.16,8.34),(2.16,8.78),(15.12,8.78),(15.12,8.34),(14.205,8.34),(14.205,7.37)],
  [(7.71,5.76),(7.71,6.14),(7.015,6.14),(7.015,6.4),(7.305,6.4),(7.305,7.64),(7.975,7.64),(7.975,7.38),(7.58,7.38),(7.58,6.49),(7.97,6.49),(7.97,5.93),(10.275,5.93),(10.275,7.035),(10.76,7.035),(10.76,6.775),(10.435,6.775),(10.435,5.76)],
  [(2.16,4.56),(2.16,5),(2.375,5),(2.375,6.32),(2.635,6.32),(2.635,5),(5.105,5),(5.105,5.7),(5.275,5.7),(5.275,5),(12.77,5),(12.77,6.335),(13.035,6.335),(13.035,5),(13.945,5),(13.945,6.46),(14.205,6.46),(14.205,5),(15.12,5),(15.12,4.56)],
  [(10.635,6.075),(10.635,6.335),(10.95,6.335),(10.95,7.245),(10.12,7.245),(10.12,7.415),(11.13,7.415),(11.13,7.21),(12.63,7.21),(12.63,6.935),(12.325,6.935),(12.325,7.05),(11.11,7.05),(11.11,6.075)],
  [(9.67,7.25),(9.67,7.755),(11.21,7.755),(11.21,7.97),(11.47,7.97),(11.47,7.595),(9.885,7.595),(9.885,7.25)],
  [(6.82,6.86),(6.82,7.12),(6.885,7.12),(6.885,7.6),(5.28,7.6),(5.28,7.775),(7.065,7.775),(7.065,6.86)],
  [(4.405,5.66),(4.405,6.255),(3.745,6.255),(3.745,6.855),(4.005,6.855),(4.005,6.415),(6.055,6.415),(6.055,7.06),(6.275,7.06),(6.275,5.755),(6.055,5.755),(6.055,6.245),(4.585,6.245),(4.585,5.66)],
  [(3.36,5.8),(3.36,7.41),(3.88,7.41),(3.88,7.745),(4.14,7.745),(4.14,7.41),(4.865,7.41),(4.865,8.12),(10.96,8.12),(10.96,7.935),(10.7,7.935),(10.7,7.955),(9.49,7.955),(9.49,7.005),(10.095,7.005),(10.095,6.135),(9.905,6.135),(9.905,6.835),(9.33,6.835),(9.33,7.955),(5.035,7.955),(5.035,7.41),(5.27,7.41),(5.27,6.855),(5.37,6.855),(5.37,6.595),(5.11,6.595),(5.11,7.25),(3.52,7.25),(3.52,6.06),(4.1,6.06),(4.1,5.8)],
  [(29.34,1.625),(29.34,1.885),(29.53,1.885),(29.53,2.19),(29.8,2.19),(29.8,3.035),(28.44,3.035),(28.44,2.69),(28.18,2.69),(28.18,3.195),(29.03,3.195),(29.03,3.495),(29.29,3.495),(29.29,3.195),(29.96,3.195),(29.96,2.03),(29.69,2.03),(29.69,1.625)],
  [(31.085,1.59),(31.085,4.155),(31.345,4.155),(31.345,2.71),(31.83,2.71),(31.83,2.745),(32.13,2.745),(32.13,2.445),(31.83,2.445),(31.83,2.485),(31.345,2.485),(31.345,1.59)],
  [(32.085,1.59),(32.085,2.19),(32.31,2.19),(32.31,3.095),(32.105,3.095),(32.105,4.155),(32.52,4.155),(32.52,1.59)],
  [(23.815,4.025),(23.815,4.285),(24.075,4.285),(24.075,4.235),(28.87,4.235),(28.87,4.285),(29.12,4.285),(29.12,4.025),(28.87,4.025),(28.87,4.075),(24.075,4.075),(24.075,4.025)],
  [(25.715,1.92),(25.715,1.98),(24.98,1.98),(24.98,2.575),(24.685,2.575),(24.685,2.835),(24.98,2.835),(24.98,3.33),(26.485,3.33),(26.485,3.07),(25.14,3.07),(25.14,2.14),(25.715,2.14),(25.715,2.18),(25.95,2.18),(25.95,1.92)],
  [(19.17,1.59),(19.17,1.85),(19.745,1.85),(19.745,3.24),(19.68,3.24),(19.68,3.5),(19.745,3.5),(19.745,4.24),(21.725,4.24),(21.725,3.68),(22.325,3.68),(22.325,4.24),(23.465,4.24),(23.465,3.915),(23.625,3.915),(23.625,3.655),(23.44,3.655),(23.44,2.16),(22.345,2.16),(22.345,2.64),(22.605,2.64),(22.605,2.32),(23.28,2.32),(23.28,4.08),(22.495,4.08),(22.495,3.52),(21.565,3.52),(21.565,4.08),(19.91,4.08),(19.91,3.5),(19.94,3.5),(19.94,3.24),(19.91,3.24),(19.91,1.59)],
  [(18.96,0.78),(18.96,1.22),(20.1,1.22),(20.1,1.85),(20.37,1.85),(20.37,1.22),(21.195,1.22),(21.195,1.915),(21.455,1.915),(21.455,1.22),(28.52,1.22),(28.52,1.85),(28.78,1.85),(28.78,1.22),(29.87,1.22),(29.87,1.85),(30.11,1.85),(30.11,1.22),(31.595,1.22),(31.595,2.19),(31.855,2.19),(31.855,1.22),(32.88,1.22),(32.88,0.78)],
  [(24.105,1.92),(24.105,3.16),(23.815,3.16),(23.815,3.42),(24.51,3.42),(24.51,3.8),(27.235,3.8),(27.235,2.785),(27.56,2.785),(27.56,2.525),(27.075,2.525),(27.075,3.63),(24.77,3.63),(24.77,3.07),(24.38,3.07),(24.38,2.18),(24.775,2.18),(24.775,1.92)],
  [(31.59,3.1),(31.59,4.56),(30.11,4.56),(30.11,3.46),(29.85,3.46),(29.85,4.56),(22.075,4.56),(22.075,3.86),(21.905,3.86),(21.905,4.56),(19.435,4.56),(19.435,3.24),(19.175,3.24),(19.175,4.56),(18.96,4.56),(18.96,5),(32.88,5),(32.88,4.56),(31.86,4.56),(31.86,3.1)],
  [(30.36,1.59),(30.36,1.99),(30.3,1.99),(30.3,2.52),(30.36,2.52),(30.36,4.155),(30.62,4.155),(30.62,2.52),(30.685,2.52),(30.685,1.99),(30.62,1.99),(30.62,1.59)],
  [(26.92,2.145),(26.92,2.315),(27.75,2.315),(27.75,3.225),(27.435,3.225),(27.435,3.485),(27.91,3.485),(27.91,2.51),(29.125,2.51),(29.125,2.625),(29.43,2.625),(29.43,2.35),(27.93,2.35),(27.93,2.145)],
  [(28.01,1.59),(28.01,1.805),(26.47,1.805),(26.47,2.31),(26.685,2.31),(26.685,1.965),(28.27,1.965),(28.27,1.59)],
  [(22.08,1.785),(22.08,1.96),(23.685,1.96),(23.685,2.44),(23.62,2.44),(23.62,2.7),(23.865,2.7),(23.865,1.785)],
  [(22.855,2.5),(22.855,3.145),(20.805,3.145),(20.805,2.705),(20.545,2.705),(20.545,3.305),(21.205,3.305),(21.205,3.9),(21.385,3.9),(21.385,3.315),(22.855,3.315),(22.855,3.805),(23.075,3.805),(23.075,2.5)],
  [(21.665,1.44),(21.665,2.15),(20.94,2.15),(20.94,1.815),(20.68,1.815),(20.68,2.15),(20.16,2.15),(20.16,3.76),(20.9,3.76),(20.9,3.5),(20.32,3.5),(20.32,2.31),(21.91,2.31),(21.91,2.965),(22.17,2.965),(22.17,2.705),(22.07,2.705),(22.07,2.15),(21.835,2.15),(21.835,1.605),(26.13,1.605),(26.13,2.725),(26.705,2.725),(26.705,3.425),(26.895,3.425),(26.895,2.555),(26.29,2.555),(26.29,1.605),(27.5,1.605),(27.5,1.625),(27.76,1.625),(27.76,1.44)],
  [(29.03,6.065),(29.03,6.365),(28.18,6.365),(28.18,6.87),(28.44,6.87),(28.44,6.525),(29.8,6.525),(29.8,7.37),(29.53,7.37),(29.53,7.675),(29.34,7.675),(29.34,7.935),(29.69,7.935),(29.69,7.53),(29.96,7.53),(29.96,6.365),(29.29,6.365),(29.29,6.065)],
  [(31.085,5.405),(31.085,7.97),(31.345,7.97),(31.345,7.075),(31.83,7.075),(31.83,7.115),(32.13,7.115),(32.13,6.815),(31.83,6.815),(31.83,6.85),(31.345,6.85),(31.345,5.405)],
  [(32.105,5.405),(32.105,6.465),(32.31,6.465),(32.31,7.37),(32.085,7.37),(32.085,7.97),(32.52,7.97),(32.52,5.405)],
  [(23.815,5.275),(23.815,5.535),(24.075,5.535),(24.075,5.485),(28.87,5.485),(28.87,5.535),(29.12,5.535),(29.12,5.275),(28.87,5.275),(28.87,5.325),(24.075,5.325),(24.075,5.275)],
  [(24.98,6.23),(24.98,6.725),(24.685,6.725),(24.685,6.985),(24.98,6.985),(24.98,7.58),(25.715,7.58),(25.715,7.64),(25.95,7.64),(25.95,7.38),(25.715,7.38),(25.715,7.42),(25.14,7.42),(25.14,6.49),(26.485,6.49),(26.485,6.23)],
  [(19.745,5.32),(19.745,6.06),(19.68,6.06),(19.68,6.32),(19.745,6.32),(19.745,7.71),(19.17,7.71),(19.17,7.97),(19.91,7.97),(19.91,6.32),(19.94,6.32),(19.94,6.06),(19.91,6.06),(19.91,5.48),(21.565,5.48),(21.565,6.04),(22.495,6.04),(22.495,5.48),(23.28,5.48),(23.28,7.24),(22.605,7.24),(22.605,6.92),(22.345,6.92),(22.345,7.4),(23.44,7.4),(23.44,5.905),(23.625,5.905),(23.625,5.645),(23.465,5.645),(23.465,5.32),(22.325,5.32),(22.325,5.88),(21.725,5.88),(21.725,5.32)],
  [(31.595,7.37),(31.595,8.34),(30.11,8.34),(30.11,7.71),(29.87,7.71),(29.87,8.34),(28.78,8.34),(28.78,7.71),(28.52,7.71),(28.52,8.34),(21.455,8.34),(21.455,7.645),(21.195,7.645),(21.195,8.34),(20.37,8.34),(20.37,7.71),(20.1,7.71),(20.1,8.34),(18.96,8.34),(18.96,8.78),(32.88,8.78),(32.88,8.34),(31.855,8.34),(31.855,7.37)],
  [(24.51,5.76),(24.51,6.14),(23.815,6.14),(23.815,6.4),(24.105,6.4),(24.105,7.64),(24.775,7.64),(24.775,7.38),(24.38,7.38),(24.38,6.49),(24.77,6.49),(24.77,5.93),(27.075,5.93),(27.075,7.035),(27.56,7.035),(27.56,6.775),(27.235,6.775),(27.235,5.76)],
  [(18.96,4.56),(18.96,5),(19.175,5),(19.175,6.32),(19.435,6.32),(19.435,5),(21.905,5),(21.905,5.7),(22.075,5.7),(22.075,5),(29.85,5),(29.85,6.1),(30.11,6.1),(30.11,5),(31.59,5),(31.59,6.46),(31.86,6.46),(31.86,5),(32.88,5),(32.88,4.56)],
  [(30.36,5.405),(30.36,7.04),(30.3,7.04),(30.3,7.57),(30.36,7.57),(30.36,7.97),(30.62,7.97),(30.62,7.57),(30.685,7.57),(30.685,7.04),(30.62,7.04),(30.62,5.405)],
  [(27.435,6.075),(27.435,6.335),(27.75,6.335),(27.75,7.245),(26.92,7.245),(26.92,7.415),(27.93,7.415),(27.93,7.21),(29.43,7.21),(29.43,6.935),(29.125,6.935),(29.125,7.05),(27.91,7.05),(27.91,6.075)],
  [(26.47,7.25),(26.47,7.755),(28.01,7.755),(28.01,7.97),(28.27,7.97),(28.27,7.595),(26.685,7.595),(26.685,7.25)],
  [(23.62,6.86),(23.62,7.12),(23.685,7.12),(23.685,7.6),(22.08,7.6),(22.08,7.775),(23.865,7.775),(23.865,6.86)],
  [(21.205,5.66),(21.205,6.255),(20.545,6.255),(20.545,6.855),(20.805,6.855),(20.805,6.415),(22.855,6.415),(22.855,7.06),(23.075,7.06),(23.075,5.755),(22.855,5.755),(22.855,6.245),(21.385,6.245),(21.385,5.66)],
  [(20.16,5.8),(20.16,7.41),(20.68,7.41),(20.68,7.745),(20.94,7.745),(20.94,7.41),(21.665,7.41),(21.665,8.12),(27.76,8.12),(27.76,7.935),(27.5,7.935),(27.5,7.955),(26.29,7.955),(26.29,7.005),(26.895,7.005),(26.895,6.135),(26.705,6.135),(26.705,6.835),(26.13,6.835),(26.13,7.955),(21.835,7.955),(21.835,7.41),(22.07,7.41),(22.07,6.855),(22.17,6.855),(22.17,6.595),(21.91,6.595),(21.91,7.25),(20.32,7.25),(20.32,6.06),(20.9,6.06),(20.9,5.8)],
  [(17.91,2.355),(17.91,2.815),(17.235,2.815),(17.235,3.19),(17.175,3.19),(17.175,3.45),(17.435,3.45),(17.435,3.03),(18.16,3.03),(18.16,2.355)],
  [(17.04,0.78),(17.04,1.22),(17.8,1.22),(17.8,1.76),(18.06,1.76),(18.06,1.22),(18.96,1.22),(18.96,0.78)],
  [(17.175,4.095),(17.175,4.56),(17.04,4.56),(17.04,5),(18.96,5),(18.96,4.56),(17.435,4.56),(17.435,4.095)],
  [(0.375,6.11),(0.375,6.37),(0.435,6.37),(0.435,6.745),(1.11,6.745),(1.11,7.205),(1.36,7.205),(1.36,6.53),(0.635,6.53),(0.635,6.11)],
  [(1,7.8),(1,8.34),(0.24,8.34),(0.24,8.78),(2.16,8.78),(2.16,8.34),(1.26,8.34),(1.26,7.8)],
  [(0.24,4.56),(0.24,5),(0.375,5),(0.375,5.465),(0.635,5.465),(0.635,5),(2.16,5),(2.16,4.56)],
  [(15.12,4.56),(15.12,5),(15.45,5),(15.45,6.325),(15.71,6.325),(15.71,5),(16.56,5),(16.56,4.56)],
  [(15.45,7.35),(15.45,8.34),(15.12,8.34),(15.12,8.78),(16.56,8.78),(16.56,8.34),(15.71,8.34),(15.71,7.35)],
  [(1.825,6.14),(1.825,6.395),(2.02,6.395),(2.02,6.97),(2.415,6.97),(2.415,6.67),(2.18,6.67),(2.18,6.14)],
  [(18.82,2.59),(18.82,3.165),(18.625,3.165),(18.625,3.42),(18.98,3.42),(18.98,2.89),(19.215,2.89),(19.215,2.59)])
R(hx_phase_detector, Metal1_pin, [(17.04,0.78,18.96,1.22), (18.96,0.78,32.88,1.22), (30.3,1.99,30.685,2.52), (19.215,2.07,19.56,2.89), (21.105,2.51,21.71,2.965), (25.41,2.52,25.95,2.84), (32.105,3.095,32.52,4.155), (18.34,3.165,18.625,3.91), (0.24,4.56,2.16,5), (2.16,4.56,15.12,5), (15.12,4.56,16.56,5), (16.56,4.56,18.96,5), (17.04,4.56,18.96,5), (18.96,4.56,32.88,5), (18.96,4.56,32.88,5), (15.975,5.385,16.205,7.95), (16.885,5.4,17.18,6.48), (14.455,5.405,14.87,6.465), (32.105,5.405,32.52,6.465), (1.54,5.65,1.825,6.395), (4.305,6.595,4.91,7.05), (21.105,6.595,21.71,7.05), (2.415,6.67,2.76,7.49), (19.215,6.67,19.56,7.49), (16.885,6.68,17.16,7.215), (17.88,6.68,18.14,7.215), (18.33,6.68,18.675,7.06), (15.43,6.71,15.745,7.04), (8.61,6.72,9.15,7.04), (25.41,6.72,25.95,7.04), (30.3,7.04,30.685,7.57), (0.24,8.34,2.16,8.78), (2.16,8.34,15.12,8.78), (15.12,8.34,16.56,8.78), (16.56,8.34,18.96,8.78), (18.96,8.34,32.88,8.78)])
R(hx_phase_detector, Metal2, [(22.3,0.005,23.3,8.78), (23.735,0.005,24.735,5), (30.325,0.15,30.615,2.41), (25.41,2.52,25.95,2.84), (16.455,5.595,17.18,5.885), (4.45,6.16,4.74,6.965), (15.445,6.16,15.735,7.035), (18.37,6.185,18.66,6.99), (8.63,6.68,9.195,7.07), (17.85,6.68,18.14,8.09), (25.395,6.68,25.96,7.07), (19.25,6.81,19.54,7.555), (14.435,7.265,14.825,8.09)])
P(hx_phase_detector, Metal2, [(17.49,0),(17.49,6.16),(17.08,6.16),(17.08,6.45),(17.78,6.45),(17.78,0)],
  [(19.795,0),(19.795,7.02),(20.515,7.02),(20.515,6.73),(20.085,6.73),(20.085,0)],
  [(21.42,2.68),(21.42,5.595),(20.99,5.595),(20.99,5.885),(21.42,5.885),(21.42,6.865),(21.71,6.865),(21.71,2.68)],
  [(29.615,0.15),(29.615,6.475),(32.475,6.475),(32.475,5.745),(32.125,5.745),(32.125,6.185),(29.905,6.185),(29.905,0.15)],
  [(32.935,0.15),(32.935,3.435),(32.16,3.435),(32.16,4.155),(32.935,4.155),(32.935,8.09),(33.225,8.09),(33.225,0.15)],
  [(27.735,0.15),(27.735,7.46),(30.62,7.46),(30.62,7.17),(28.025,7.17),(28.025,0.15)])
R(hx_phase_detector, Metal2_pin, [(17.49,0,17.78,0.69), (19.795,0,20.085,0.695), (27.735,0.15,28.025,0.845), (29.615,0.15,29.905,0.845), (30.325,0.15,30.615,0.845), (32.935,0.15,33.225,0.845), (22.3,0.78,23.3,1.22), (23.735,4.56,24.735,5)])
R(hx_phase_detector, pSD, [(16.97,0.82,19.03,1.18), (18.89,0.82,32.96,1.18), (16.97,2.76,19.03,4.6), (0.17,4.96,2.23,6.8), (15.05,4.96,16.63,6.8), (16.49,4.96,19.03,6.8), (0.17,8.38,2.23,8.74), (2.09,8.38,15.19,8.74), (15.05,8.38,16.63,8.74), (16.49,8.38,19.03,8.74), (18.89,8.38,32.96,8.74)])
P(hx_phase_detector, pSD, [(2.09,4.96),(2.09,6.8),(3.105,6.8),(3.105,6.725),(4.415,6.725),(4.415,6.335),(7.39,6.335),(7.39,6.81),(9.405,6.81),(9.405,6.8),(12.715,6.8),(12.715,6.9),(14.72,6.9),(14.72,6.8),(15.19,6.8),(15.19,4.96)],
  [(29.515,2.66),(29.515,2.76),(26.205,2.76),(26.205,2.75),(24.19,2.75),(24.19,3.225),(21.215,3.225),(21.215,2.835),(19.905,2.835),(19.905,2.76),(18.89,2.76),(18.89,4.6),(32.96,4.6),(32.96,2.76),(31.52,2.76),(31.52,2.66)],
  [(18.89,4.96),(18.89,6.8),(19.905,6.8),(19.905,6.725),(21.215,6.725),(21.215,6.335),(24.19,6.335),(24.19,6.81),(26.205,6.81),(26.205,6.8),(29.515,6.8),(29.515,6.9),(31.52,6.9),(31.52,6.8),(32.96,6.8),(32.96,4.96)])
R(hx_phase_detector, Via1, [(22.465,0.9,22.655,1.09), (22.945,0.9,23.135,1.09), (30.375,2.17,30.565,2.36), (25.585,2.6,25.775,2.79), (21.465,2.73,21.655,2.92), (32.21,3.485,32.4,3.675), (32.21,3.915,32.4,4.105), (23.905,4.68,24.095,4.87), (24.385,4.68,24.575,4.87), (16.505,5.645,16.695,5.835), (16.935,5.645,17.125,5.835), (32.21,5.795,32.4,5.985), (32.21,6.225,32.4,6.415), (21.465,6.625,21.655,6.815), (4.5,6.65,4.69,6.84), (17.9,6.73,18.09,6.92), (18.42,6.75,18.61,6.94), (8.79,6.78,8.98,6.97), (15.495,6.78,15.685,6.97), (25.59,6.78,25.78,6.97), (19.3,6.86,19.49,7.05), (30.38,7.22,30.57,7.41), (14.535,7.42,14.725,7.61), (14.535,7.85,14.725,8.04), (14.535,7.85,14.725,8.04), (22.465,8.46,22.655,8.65), (22.945,8.46,23.135,8.65)])
R(hx_phase_detector, Via2, [(25.585,2.6,25.775,2.79), (16.505,5.645,16.695,5.835), (16.935,5.645,17.125,5.835), (21.04,5.645,21.23,5.835), (21.47,5.645,21.66,5.835), (32.21,5.795,32.4,5.985), (4.5,6.21,4.69,6.4), (15.495,6.21,15.685,6.4), (17.11,6.21,17.3,6.4), (17.54,6.21,17.73,6.4), (32.21,6.225,32.4,6.415), (18.42,6.235,18.61,6.425), (8.79,6.78,8.98,6.97), (19.845,6.78,20.035,6.97), (20.275,6.78,20.465,6.97), (25.59,6.78,25.78,6.97), (19.3,7.32,19.49,7.51), (14.535,7.42,14.725,7.61), (14.535,7.85,14.725,8.04), (17.9,7.85,18.09,8.04), (32.985,7.85,33.175,8.04)])
R(hx_phase_detector, Metal3, [(25.41,2.55,33.97,2.84), (16.455,5.595,21.71,5.885), (4.45,6.16,17.78,6.45), (8.63,6.73,25.92,7.02), (17.85,7.8,33.225,8.09)])
P(hx_phase_detector, Metal3, [(32.125,5.745),(32.125,6.185),(18.37,6.185),(18.37,6.475),(32.475,6.475),(32.475,5.745)],
  [(14.435,7.265),(14.435,8.09),(14.825,8.09),(14.825,7.555),(19.54,7.555),(19.54,7.265)])
R(hx_phase_detector, Metal3_pin, [(33.17,2.55,33.97,2.84)])
R(hx_phase_detector, NWell, [(16.8,2.75,19.2,5.17), (0,4.39,2.4,6.81), (14.88,4.39,16.8,6.81), (16.32,4.39,19.2,6.81)])
P(hx_phase_detector, NWell, [(1.92,4.39),(1.92,6.81),(3.095,6.81),(3.095,6.71),(4.43,6.71),(4.43,6.345),(7.38,6.345),(7.38,6.82),(9.475,6.82),(9.475,6.725),(12.815,6.725),(12.815,6.81),(15.36,6.81),(15.36,4.39)],
  [(24.18,2.74),(24.18,3.215),(21.23,3.215),(21.23,2.85),(19.895,2.85),(19.895,2.75),(18.72,2.75),(18.72,5.17),(33.12,5.17),(33.12,2.75),(29.615,2.75),(29.615,2.835),(26.275,2.835),(26.275,2.74)],
  [(18.72,4.39),(18.72,6.81),(19.895,6.81),(19.895,6.71),(21.23,6.71),(21.23,6.345),(24.18,6.345),(24.18,6.82),(26.275,6.82),(26.275,6.725),(29.615,6.725),(29.615,6.81),(33.12,6.81),(33.12,4.39)])
R(hx_phase_detector, boundary, [(0,0,33.97,8.78)])
hx_phase_detector.add(gdstk.Label('VSS', (32.69,8.565), layer=8, texttype=25))
hx_phase_detector.add(gdstk.Label('VDD', (32.72,4.765), layer=8, texttype=25))
hx_phase_detector.add(gdstk.Label('VSS', (32.68,0.985), layer=8, texttype=25))
hx_phase_detector.add(gdstk.Label('VSS', (22.72,1.02), layer=10, texttype=25))
hx_phase_detector.add(gdstk.Label('VDD', (24.195,4.785), layer=10, texttype=25))
hx_phase_detector.add(gdstk.Label('UP_INV', (27.805,0.305), layer=10, texttype=25))
hx_phase_detector.add(gdstk.Label('DOWN', (33.06,0.38), layer=10, texttype=25))
hx_phase_detector.add(gdstk.Label('DOWN_INV', (30.43,0.445), layer=10, texttype=25))
hx_phase_detector.add(gdstk.Label('DLL_RESETN', (17.605,0.155), layer=10, texttype=25))
hx_phase_detector.add(gdstk.Label('DELAY_IN', (19.9,0.165), layer=10, texttype=25))
hx_phase_detector.add(gdstk.Label('UP', (29.755,0.45), layer=10, texttype=25))
hx_phase_detector.add(gdstk.Label('DELAY_OUT', (33.54,2.68), layer=30, texttype=25))

lib.write_gds('hx_phase_detector.gds')
